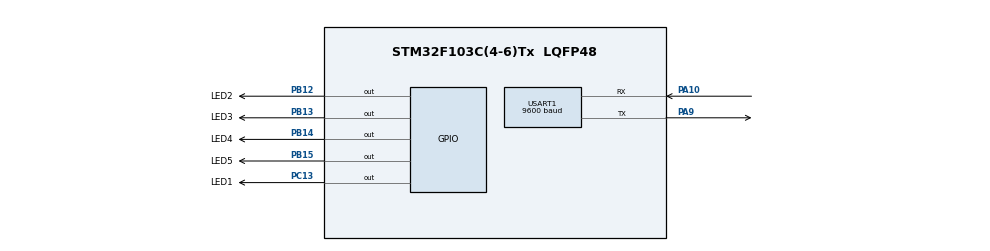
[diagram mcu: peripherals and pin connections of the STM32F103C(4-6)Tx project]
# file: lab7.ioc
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Mcu.Family=STM32F1
Mcu.Name=STM32F103C(4-6)Tx
Mcu.Package=LQFP48
NVIC.PriorityGroup=NVIC_PRIORITYGROUP_4
NVIC.USART1_IRQn=true\:0\:0\:false\:false\:true\:true\:true
PA10.Mode=Asynchronous
PA10.Signal=USART1_RX
PA9.Mode=Asynchronous
PA9.Signal=USART1_TX
PB12.GPIO_Label=LED2
PB12.Signal=GPIO_Output
PB13.GPIO_Label=LED3
PB13.Signal=GPIO_Output
PB14.GPIO_Label=LED4
PB14.Signal=GPIO_Output
PB15.GPIO_Label=LED5
PB15.Signal=GPIO_Output
PC13-TAMPER-RTC.GPIO_Label=LED1
PC13-TAMPER-RTC.Signal=GPIO_Output
ProjectManager.HeapSize=0x200
ProjectManager.StackSize=0x400
ProjectManager.TargetToolchain=STM32CubeIDE
RCC.APB1Freq_Value=8000000
RCC.APB2Freq_Value=8000000
USART1.BaudRate=9600
USART1.VirtualMode=VM_ASYNC
VP_SYS_VS_ND.Mode=No_Debug
board=custom

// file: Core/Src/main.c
/* USER CODE BEGIN Header */
/**
  ******************************************************************************
  * @file           : main.c
  * @brief          : Main program body
  ******************************************************************************
  * @attention
  *
  * <h2><center>&copy; Copyright (c) 2021 STMicroelectronics.
  * All rights reserved.</center></h2>
  *
  * This software component is licensed by ST under BSD 3-Clause license,
  * the "License"; You may not use this file except in compliance with the
  * License. You may obtain a copy of the License at:
  *                        opensource.org/licenses/BSD-3-Clause
  *
  ******************************************************************************
  */
/* USER CODE END Header */
#include "main.h"

/* USER CODE BEGIN Includes */
#include <stdbool.h>
/* USER CODE END Includes */

UART_HandleTypeDef huart1;

/* USER CODE BEGIN PV */
uint8_t str[1];
bool RxCompleted = false;
bool TxCompleted = true;

/* USER CODE END PV */

void SystemClock_Config(void);
static void MX_GPIO_Init(void);
static void MX_USART1_UART_Init(void);

int main(void)
{

  /* MCU Configuration--------------------------------------------------------*/

  /* Reset of all peripherals, Initializes the Flash interface and the Systick. */
  HAL_Init();

  /* Configure the system clock */
  SystemClock_Config();

  /* Initialize all configured peripherals */
  MX_GPIO_Init();
  MX_USART1_UART_Init();
  /* USER CODE BEGIN 2 */
  HAL_UART_Receive_IT(&huart1, str, 1);
  /* USER CODE END 2 */

  /* Infinite loop */
  /* USER CODE BEGIN WHILE */
  while (1)
  {
	  if (str[0] == 'A')
		  HAL_GPIO_WritePin(LED1_GPIO_Port, LED1_Pin, GPIO_PIN_RESET);
	  else if (str[0] == 'B')
		  HAL_GPIO_WritePin(LED1_GPIO_Port, LED1_Pin, GPIO_PIN_SET);
	  else if (str[0] == 'C')
		  HAL_GPIO_WritePin(LED2_GPIO_Port, LED2_Pin, GPIO_PIN_RESET);
	  else if (str[0] == 'D')
		  HAL_GPIO_WritePin(LED2_GPIO_Port, LED2_Pin, GPIO_PIN_SET);
	  else if (str[0] == 'E')
		  HAL_GPIO_WritePin(LED3_GPIO_Port, LED3_Pin, GPIO_PIN_RESET);
	  else if (str[0] == 'F')
		  HAL_GPIO_WritePin(LED3_GPIO_Port, LED3_Pin, GPIO_PIN_SET);
	  else if (str[0] == 'G')
		  HAL_GPIO_WritePin(LED4_GPIO_Port, LED4_Pin, GPIO_PIN_RESET);
	  else if (str[0] == 'H')
		  HAL_GPIO_WritePin(LED4_GPIO_Port, LED4_Pin, GPIO_PIN_SET);
	  else if (str[0] == 'Z') {
		  HAL_GPIO_TogglePin(LED5_GPIO_Port, LED5_Pin);
		  str[0] = ' ';
	  }
    /* USER CODE END WHILE */

  }
}

void SystemClock_Config(void)
{
  RCC_OscInitTypeDef RCC_OscInitStruct = {0};
  RCC_ClkInitTypeDef RCC_ClkInitStruct = {0};

  /** Initializes the RCC Oscillators according to the specified parameters
  * in the RCC_OscInitTypeDef structure.
  */
  RCC_OscInitStruct.OscillatorType = RCC_OSCILLATORTYPE_HSI;
  RCC_OscInitStruct.HSIState = RCC_HSI_ON;
  RCC_OscInitStruct.HSICalibrationValue = RCC_HSICALIBRATION_DEFAULT;
  RCC_OscInitStruct.PLL.PLLState = RCC_PLL_NONE;
  if (HAL_RCC_OscConfig(&RCC_OscInitStruct) != HAL_OK)
  {
    Error_Handler();
  }
  /** Initializes the CPU, AHB and APB buses clocks
  */
  RCC_ClkInitStruct.ClockType = RCC_CLOCKTYPE_HCLK|RCC_CLOCKTYPE_SYSCLK
                              |RCC_CLOCKTYPE_PCLK1|RCC_CLOCKTYPE_PCLK2;
  RCC_ClkInitStruct.SYSCLKSource = RCC_SYSCLKSOURCE_HSI;
  RCC_ClkInitStruct.AHBCLKDivider = RCC_SYSCLK_DIV1;
  RCC_ClkInitStruct.APB1CLKDivider = RCC_HCLK_DIV1;
  RCC_ClkInitStruct.APB2CLKDivider = RCC_HCLK_DIV1;

  if (HAL_RCC_ClockConfig(&RCC_ClkInitStruct, FLASH_LATENCY_0) != HAL_OK)
  {
    Error_Handler();
  }
}

static void MX_USART1_UART_Init(void)
{

  huart1.Instance = USART1;
  huart1.Init.BaudRate = 9600;
  huart1.Init.WordLength = UART_WORDLENGTH_8B;
  huart1.Init.StopBits = UART_STOPBITS_1;
  huart1.Init.Parity = UART_PARITY_NONE;
  huart1.Init.Mode = UART_MODE_TX_RX;
  huart1.Init.HwFlowCtl = UART_HWCONTROL_NONE;
  huart1.Init.OverSampling = UART_OVERSAMPLING_16;
  if (HAL_UART_Init(&huart1) != HAL_OK)
  {
    Error_Handler();
  }

}

static void MX_GPIO_Init(void)
{
  GPIO_InitTypeDef GPIO_InitStruct = {0};

  /* GPIO Ports Clock Enable */
  __HAL_RCC_GPIOC_CLK_ENABLE();
  __HAL_RCC_GPIOB_CLK_ENABLE();
  __HAL_RCC_GPIOA_CLK_ENABLE();

  /*Configure GPIO pin Output Level */
  HAL_GPIO_WritePin(LED1_GPIO_Port, LED1_Pin, GPIO_PIN_RESET);

  /*Configure GPIO pin Output Level */
  HAL_GPIO_WritePin(GPIOB, LED2_Pin|LED3_Pin|LED4_Pin|LED5_Pin, GPIO_PIN_RESET);

  /*Configure GPIO pin : LED1_Pin */
  GPIO_InitStruct.Pin = LED1_Pin;
  GPIO_InitStruct.Mode = GPIO_MODE_OUTPUT_PP;
  GPIO_InitStruct.Pull = GPIO_NOPULL;
  GPIO_InitStruct.Speed = GPIO_SPEED_FREQ_LOW;
  HAL_GPIO_Init(LED1_GPIO_Port, &GPIO_InitStruct);

  /*Configure GPIO pins : LED2_Pin LED3_Pin LED4_Pin LED5_Pin */
  GPIO_InitStruct.Pin = LED2_Pin|LED3_Pin|LED4_Pin|LED5_Pin;
  GPIO_InitStruct.Mode = GPIO_MODE_OUTPUT_PP;
  GPIO_InitStruct.Pull = GPIO_NOPULL;
  GPIO_InitStruct.Speed = GPIO_SPEED_FREQ_LOW;
  HAL_GPIO_Init(GPIOB, &GPIO_InitStruct);

}

/* USER CODE BEGIN 4 */
void HAL_UART_RxCpltCallback(UART_HandleTypeDef *huart)
{
	if(huart == &huart1) {
		RxCompleted = true;

		if (TxCompleted == true) {
			TxCompleted = false;
			HAL_UART_Transmit_IT(&huart1, str, 1);
		}
	}
}

void HAL_UART_TxCpltCallback(UART_HandleTypeDef *huart)
{
	if(huart == &huart1) {
		TxCompleted = true;

		if (RxCompleted == true) {
			RxCompleted = false;
			HAL_UART_Receive_IT(&huart1, str, 1);
		}
	}
}

/* USER CODE END 4 */

void Error_Handler(void)
{
  __disable_irq();
  while (1)
  {
  }
}

/************************ (C) COPYRIGHT STMicroelectronics *****END OF FILE****/
